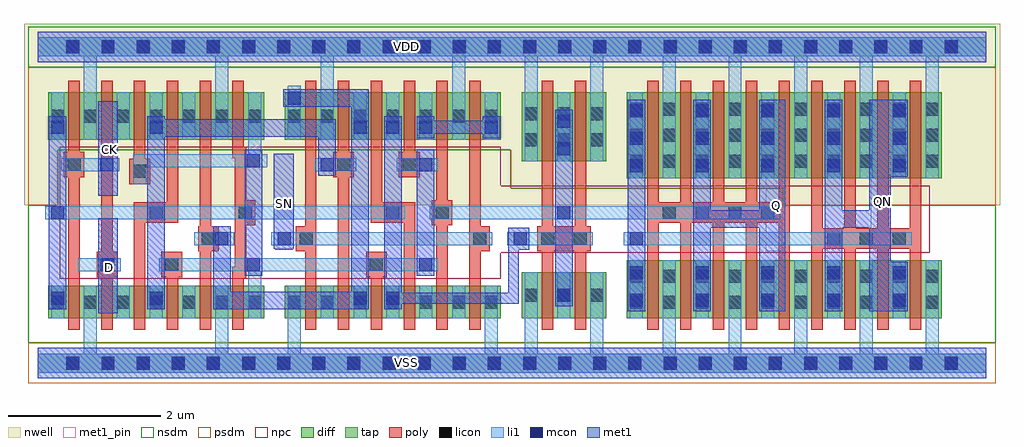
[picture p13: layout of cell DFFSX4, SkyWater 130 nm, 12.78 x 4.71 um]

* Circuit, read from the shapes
.subckt DFFSX4 CK D Q QN SN VDD VSS
XM1 VSS CK n1 VSS sky130_fd_pr__nfet_01v8 w=0.425 l=0.15
XM2 n2 D VSS VSS sky130_fd_pr__nfet_01v8 w=0.425 l=0.15
XM3 n3 n1 n2 VSS sky130_fd_pr__nfet_01v8 w=0.425 l=0.15
XM4 n4 n5 n3 VSS sky130_fd_pr__nfet_01v8 w=0.425 l=0.15
XM5 VSS n6 n4 VSS sky130_fd_pr__nfet_01v8 w=0.425 l=0.15
XM6 n5 n1 VSS VSS sky130_fd_pr__nfet_01v8 w=0.425 l=0.15
XM7 n7 SN VSS VSS sky130_fd_pr__nfet_01v8 w=0.425 l=0.15
XM8 n6 n3 n7 VSS sky130_fd_pr__nfet_01v8 w=0.425 l=0.15
XM9 n8 n5 n6 VSS sky130_fd_pr__nfet_01v8 w=0.425 l=0.15
XM10 n9 n1 n8 VSS sky130_fd_pr__nfet_01v8 w=0.425 l=0.15
XM11 n10 n11 n9 VSS sky130_fd_pr__nfet_01v8 w=0.425 l=0.15
XM12 VSS SN n10 VSS sky130_fd_pr__nfet_01v8 w=0.425 l=0.15
XM13 n11 n8 VSS VSS sky130_fd_pr__nfet_01v8 w=0.6 l=0.15 m=2
XM14 VSS n11 n12 VSS sky130_fd_pr__nfet_01v8 w=0.76 l=0.15
XM15 Q n11 VSS VSS sky130_fd_pr__nfet_01v8 w=0.76 l=0.15 m=4
XM16 QN n12 VSS VSS sky130_fd_pr__nfet_01v8 w=0.76 l=0.15 m=4
XM17 VDD CK n1 VDD sky130_fd_pr__pfet_01v8 w=0.625 l=0.15
XM18 n13 D VDD VDD sky130_fd_pr__pfet_01v8 w=0.625 l=0.15
XM19 n3 n5 n13 VDD sky130_fd_pr__pfet_01v8 w=0.625 l=0.15
XM20 n14 n1 n3 VDD sky130_fd_pr__pfet_01v8 w=0.625 l=0.15
XM21 VDD n6 n14 VDD sky130_fd_pr__pfet_01v8 w=0.625 l=0.15
XM22 n5 n1 VDD VDD sky130_fd_pr__pfet_01v8 w=0.625 l=0.15
XM23 VDD SN n6 VDD sky130_fd_pr__pfet_01v8 w=0.625 l=0.15
XM24 n6 n3 VDD VDD sky130_fd_pr__pfet_01v8 w=0.625 l=0.15
XM25 n8 n1 n6 VDD sky130_fd_pr__pfet_01v8 w=0.625 l=0.15
XM26 n15 n5 n8 VDD sky130_fd_pr__pfet_01v8 w=0.625 l=0.15
XM27 VDD n11 n15 VDD sky130_fd_pr__pfet_01v8 w=0.625 l=0.15
XM28 n15 SN VDD VDD sky130_fd_pr__pfet_01v8 w=0.625 l=0.15
XM29 n11 n8 VDD VDD sky130_fd_pr__pfet_01v8 w=0.905 l=0.15 m=2
XM30 VDD n11 n12 VDD sky130_fd_pr__pfet_01v8 w=1.13 l=0.15
XM31 Q n11 VDD VDD sky130_fd_pr__pfet_01v8 w=1.13 l=0.15 m=4
XM32 QN n12 VDD VDD sky130_fd_pr__pfet_01v8 w=1.13 l=0.15 m=4
.ends

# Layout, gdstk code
from math import pi, radians
import gdstk
lib = gdstk.Library(unit=1e-6, precision=1e-09)
def R(c, l, rs):  # rectangles x0, y0, x1, y1
    for r in rs: c.add(gdstk.rectangle(r[:2], r[2:], *l))
def A(c, l, x, y, w, h, nx, ny, dx, dy):  # array of equal rectangles
    R(c, l, [(x+i*dx, y+j*dy, x+i*dx+w, y+j*dy+h) for i in range(nx) for j in range(ny)])
def P(c, l, *ps):  # polygons
    for p in ps: c.add(gdstk.Polygon(p, *l))
nwell = (64, 20)
diff = (65, 20)
tap = (65, 44)
poly = (66, 20)
licon = (66, 44)
li1 = (67, 20)
mcon = (67, 44)
met1_pin = (68, 16)
met1 = (68, 20)
nsdm = (93, 44)
psdm = (94, 20)
npc = (95, 20)

pyl1con_c_cdns_751554744 = lib.new_cell('PYL1CON_C_CDNS_751554744754')
R(pyl1con_c_cdns_751554744, poly, [(-0.135,-0.29,0.135,0.29)])
R(pyl1con_c_cdns_751554744, licon, [(-0.085,-0.085,0.085,0.085)])
R(pyl1con_c_cdns_751554744, npc, [(-0.185,-0.185,0.185,0.185)])

c_pyl1con_c_cdns_751554744 = lib.new_cell('PYL1CON_C_CDNS_751554744751')
R(c_pyl1con_c_cdns_751554744, poly, [(-0.135,-0.165,0.135,0.165)])
R(c_pyl1con_c_cdns_751554744, licon, [(-0.085,-0.085,0.085,0.085)])
R(c_pyl1con_c_cdns_751554744, npc, [(-0.185,-0.185,0.185,0.185)])

licondiff_c_cdns_7515547 = lib.new_cell('LICONDIFF_C_CDNS_751554744755')
R(licondiff_c_cdns_7515547, diff, [(-0.125,-0.145,0.125,0.145)])
R(licondiff_c_cdns_7515547, licon, [(-0.085,-0.085,0.085,0.085), (-0.085,-0.085,0.085,0.085)])

dffsx4 = lib.new_cell('DFFSX4')
R(dffsx4, nwell, [(-0.18,2.07,12.6,4.445)])
R(dffsx4, diff, [(0.135,0.59,2.965,1.015), (3.235,0.59,6.065,1.015), (6.335,0.59,7.445,1.19), (7.715,0.59,11.835,1.35), (7.715,2.42,11.835,3.55), (6.335,2.645,7.445,3.55), (0.135,2.925,2.965,3.55), (3.235,2.925,6.065,3.55)])
A(dffsx4, poly, 7.98, 0.44, 0.15, 3.26, 9, 1, 0.43, 0)
R(dffsx4, poly, [(0.4,0.44,0.55,3.7), (0.83,0.44,0.98,3.7), (1.69,0.44,1.84,1.165), (2.12,0.44,2.27,3.7), (3.5,0.44,3.65,3.7), (3.93,0.44,4.08,3.7), (4.36,0.44,4.51,1.165), (5.22,0.44,5.37,3.7), (5.65,0.44,5.8,3.7), (1.26,2.51,1.41,3.7), (4.79,2.765,4.94,3.7)])
P(dffsx4, poly, [(6.6,0.44),(6.6,1.465),(6.54,1.465),(6.54,1.795),(6.6,1.795),(6.6,3.7),(6.75,3.7),(6.75,1.795),(7.03,1.795),(7.03,3.7),(7.18,3.7),(7.18,1.795),(7.24,1.795),(7.24,1.465),(7.18,1.465),(7.18,0.44),(7.03,0.44),(7.03,1.465),(6.75,1.465),(6.75,0.44)],
  [(4.79,0.44),(4.79,1.895),(4.36,1.895),(4.36,3.7),(4.51,3.7),(4.51,2.045),(4.94,2.045),(4.94,0.44)],
  [(2.55,0.44),(2.55,1.26),(2.58,1.26),(2.58,2.68),(2.55,2.68),(2.55,3.7),(2.7,3.7),(2.7,2.83),(2.73,2.83),(2.73,1.11),(2.7,1.11),(2.7,0.44)],
  [(1.26,0.44),(1.26,2.045),(1.69,2.045),(1.69,3.7),(1.84,3.7),(1.84,1.895),(1.41,1.895),(1.41,0.44)])
A(dffsx4, licon, 0.375, -0.085, 0.17, 0.17, 26, 2, 0.46, 4.14)
A(dffsx4, licon, 0.605, 0.715, 0.17, 0.17, 3, 2, 0.86, 2.435)
A(dffsx4, licon, 7.755, 0.715, 0.17, 0.17, 10, 2, 0.43, 0.34)
A(dffsx4, licon, 6.375, 0.805, 0.17, 0.17, 3, 2, 0.43, 2.035)
A(dffsx4, licon, 7.755, 2.56, 0.17, 0.17, 10, 3, 0.43, 0.34)
A(dffsx4, licon, 3.275, 3.15, 0.17, 0.17, 7, 1, 0.43, 0)
A(dffsx4, licon, 6.375, 3.18, 0.17, 0.17, 3, 1, 0.43, 0)
R(dffsx4, licon, [(0.175,0.715,0.345,0.885), (2.755,0.715,2.925,0.885), (3.275,0.715,3.445,0.885), (4.135,0.715,4.305,0.885), (4.565,0.715,4.735,0.885), (5.855,0.715,6.025,0.885), (0.175,3.15,0.345,3.32), (2.755,3.15,2.925,3.32)])
A(dffsx4, li1, 7.755, 0.59, 0.17, 0.76, 5, 1, 0.86, 0)
A(dffsx4, li1, 7.755, 0.66, 0.17, 0.69, 5, 1, 0.86, 0)
A(dffsx4, li1, 7.755, 2.42, 0.17, 1.13, 5, 1, 0.86, 0)
A(dffsx4, li1, 7.755, 2.42, 0.17, 1.05, 5, 1, 0.86, 0)
A(dffsx4, li1, 4.135, 2.925, 0.17, 0.625, 3, 1, 0.43, 0)
A(dffsx4, li1, 4.135, 2.925, 0.17, 0.33, 3, 1, 0.43, 0)
R(dffsx4, li1, [(0.175,0.59,0.345,1.015), (1.465,0.59,1.635,1.015), (4.135,0.59,4.305,1.015), (4.565,0.59,4.735,1.015), (6.805,0.59,6.975,1.19), (0.175,0.685,0.345,1.015), (1.465,0.685,1.635,1.015), (4.135,0.685,4.305,1.015), (4.565,0.685,4.735,1.015), (6.805,0.725,6.975,1.055), (0.755,1.205,1.085,1.375), (2.66,1.205,2.99,1.375), (4.915,1.205,5.245,1.375), (2.245,1.545,2.575,1.715), (3.06,1.545,3.39,1.715), (6.235,1.545,6.405,1.715), (7.675,1.545,8.005,1.715), (0.095,1.885,0.425,2.055), (6.725,1.885,7.055,2.055), (0.31,2.515,0.855,2.685), (0.74,2.515,1.07,2.685), (3.665,2.515,3.915,2.685), (4.915,2.515,5.245,2.685), (2.66,2.565,2.99,2.735), (6.805,2.645,6.975,3.55), (6.805,2.645,6.975,3.335), (0.175,2.925,0.345,3.55), (0.175,2.925,0.345,3.255), (1.465,2.925,1.635,3.55), (1.465,2.925,1.635,3.255), (3.275,2.925,3.445,3.55), (5.855,2.925,6.025,3.55), (5.855,2.925,6.025,3.255), (3.275,3.305,3.445,3.635)])
P(dffsx4, li1, [(0,-0.125),(0,0.125),(0.605,0.125),(0.605,1.015),(0.775,1.015),(0.775,0.125),(2.325,0.125),(2.325,1.015),(2.495,1.015),(2.495,0.125),(3.275,0.125),(3.275,1.015),(3.445,1.015),(3.445,0.125),(5.855,0.125),(5.855,1.015),(6.025,1.015),(6.025,0.125),(6.375,0.125),(6.375,1.19),(6.545,1.19),(6.545,0.125),(7.235,0.125),(7.235,1.19),(7.405,1.19),(7.405,0.125),(8.185,0.125),(8.185,1.35),(8.355,1.35),(8.355,0.125),(9.045,0.125),(9.045,1.35),(9.215,1.35),(9.215,0.125),(9.905,0.125),(9.905,1.35),(10.075,1.35),(10.075,0.125),(10.765,0.125),(10.765,1.35),(10.935,1.35),(10.935,0.125),(11.625,0.125),(11.625,1.35),(11.795,1.35),(11.795,0.125),(12.42,0.125),(12.42,-0.125)],
  [(8.185,2.42),(8.185,4.015),(7.405,4.015),(7.405,2.645),(7.235,2.645),(7.235,4.015),(6.545,4.015),(6.545,2.645),(6.375,2.645),(6.375,4.015),(5.595,4.015),(5.595,2.925),(5.425,2.925),(5.425,4.015),(3.875,4.015),(3.875,2.925),(3.705,2.925),(3.705,4.015),(2.495,4.015),(2.495,2.925),(2.325,2.925),(2.325,4.015),(0.775,4.015),(0.775,2.925),(0.605,2.925),(0.605,4.015),(0,4.015),(0,4.265),(12.42,4.265),(12.42,4.015),(11.795,4.015),(11.795,2.42),(11.625,2.42),(11.625,4.015),(10.935,4.015),(10.935,2.42),(10.765,2.42),(10.765,4.015),(10.075,4.015),(10.075,2.42),(9.905,2.42),(9.905,4.015),(9.215,4.015),(9.215,2.42),(9.045,2.42),(9.045,4.015),(8.355,4.015),(8.355,2.42)],
  [(2.755,0.59),(2.755,1.205),(1.59,1.205),(1.59,1.375),(5.245,1.375),(5.245,1.205),(2.925,1.205),(2.925,0.59)],
  [(1.25,2.345),(1.25,2.735),(2.755,2.735),(2.755,3.55),(2.925,3.55),(2.925,2.735),(3.005,2.735),(3.005,2.565),(1.42,2.565),(1.42,2.345)])
A(dffsx4, mcon, 0.375, -0.085, 0.17, 0.17, 26, 2, 0.46, 4.14)
A(dffsx4, mcon, 7.755, 0.74, 0.17, 0.17, 5, 2, 0.86, 0.36)
A(dffsx4, mcon, 0.175, 0.765, 0.17, 0.17, 1, 3, 0, 1.12)
A(dffsx4, mcon, 7.755, 2.5, 0.17, 0.17, 5, 3, 0.86, 0.36)
A(dffsx4, mcon, 4.135, 3.005, 0.17, 0.17, 3, 1, 0.43, 0)
R(dffsx4, mcon, [(1.465,0.765,1.635,0.935), (4.135,0.765,4.305,0.935), (4.565,0.765,4.735,0.935), (6.805,0.805,6.975,0.975), (0.835,1.205,1.005,1.375), (2.74,1.205,2.91,1.375), (4.995,1.205,5.165,1.375), (2.325,1.545,2.495,1.715), (3.14,1.545,3.31,1.715), (6.235,1.545,6.405,1.715), (7.755,1.545,7.925,1.715), (6.805,1.885,6.975,2.055), (0.82,2.515,0.99,2.685), (3.705,2.515,3.875,2.685), (4.995,2.515,5.165,2.685), (2.74,2.565,2.91,2.735), (6.805,2.725,6.975,2.895), (1.465,3.005,1.635,3.175), (5.855,3.005,6.025,3.175), (6.805,3.085,6.975,3.255), (3.275,3.385,3.445,3.555)])
R(dffsx4, met1_pin, [(0.79,0.655,1.05,1.895), (9.53,1.465,9.79,2.705), (3.09,1.5,3.35,2.74), (10.91,1.52,11.17,2.76), (0.79,2.19,1.05,3.43)])
A(dffsx4, met1, 7.725, 0.68, 0.23, 0.65, 5, 1, 0.86, 0)
A(dffsx4, met1, 0.145, 0.705, 0.23, 0.29, 1, 3, 0, 1.12)
A(dffsx4, met1, 7.725, 2.44, 0.23, 1.01, 5, 1, 0.86, 0)
A(dffsx4, met1, 4.105, 2.945, 0.23, 0.29, 3, 1, 0.43, 0)
R(dffsx4, met1, [(1.435,0.705,1.665,0.995), (4.105,0.705,4.335,0.995), (4.535,0.705,4.765,0.995), (6.775,0.745,7.005,1.035), (0.805,1.145,1.035,1.435), (2.71,1.145,2.94,1.435), (4.965,1.145,5.195,1.435), (2.295,1.485,2.525,1.775), (3.11,1.485,3.34,1.775), (6.205,1.485,6.435,1.775), (7.725,1.485,7.955,1.775), (6.775,1.825,7.005,2.115), (0.79,2.455,1.02,2.745), (3.675,2.455,3.905,2.745), (4.965,2.455,5.195,2.745), (2.71,2.505,2.94,2.795), (6.775,2.665,7.005,3.315), (1.435,2.945,1.665,3.235), (5.825,2.945,6.055,3.235), (3.215,3.355,3.505,3.585)])
P(dffsx4, met1, [(4.535,0.705),(4.535,3.235),(4.765,3.235),(4.765,0.92),(6.16,0.92),(6.16,1.775),(6.3,1.775),(6.3,0.78),(4.765,0.78),(4.765,0.705)],
  [(8.585,0.68),(8.585,3.45),(8.815,3.45),(8.815,2),(9.445,2),(9.445,3.45),(9.79,3.45),(9.79,0.68),(9.445,0.68),(9.445,1.77),(8.815,1.77),(8.815,0.68)],
  [(10.305,0.68),(10.305,3.45),(10.535,3.45),(10.535,2),(10.885,2),(10.885,3.45),(11.17,3.45),(11.17,0.68),(10.885,0.68),(10.885,1.77),(10.535,1.77),(10.535,0.68)])
R(dffsx4, nsdm, [(-0.125,3.875,12.545,4.405)])
P(dffsx4, nsdm, [(-0.125,0.265),(-0.125,2.07),(0.265,2.07),(0.265,2.795),(6.195,2.795),(6.195,2.29),(9.765,2.29),(9.765,2.07),(12.545,2.07),(12.545,0.265)])
R(dffsx4, psdm, [(-0.125,-0.265,12.545,0.265)])
P(dffsx4, psdm, [(-0.125,2.07),(-0.125,3.875),(12.545,3.875),(12.545,2.07),(9.765,2.07),(9.765,2.29),(6.195,2.29),(6.195,2.795),(0.265,2.795),(0.265,2.07)])
P(dffsx4, npc, [(0.29,1.105),(0.29,2.835),(6.065,2.835),(6.065,2.325),(11.68,2.325),(11.68,1.445),(6.065,1.445),(6.065,1.105)])
dffsx4.add(gdstk.FlexPath([(0.095,1.97),(4.815,1.97)], 0.17, ends="flush", simple_path=True, layer=67, datatype=20))  # li1
dffsx4.add(gdstk.FlexPath([(2.575,1.63),(2.05,1.63)], 0.17, ends="flush", simple_path=True, layer=67, datatype=20))  # li1
dffsx4.add(gdstk.FlexPath([(6.145,1.63),(7.27,1.63)], 0.17, ends="flush", simple_path=True, layer=67, datatype=20))  # li1
dffsx4.add(gdstk.FlexPath([(5.95,1.63),(3.105,1.63)], 0.17, ends="flush", simple_path=True, layer=67, datatype=20))  # li1
dffsx4.add(gdstk.FlexPath([(0.525,1.29),(1.07,1.29)], 0.17, ends="flush", simple_path=True, layer=67, datatype=20))  # li1
dffsx4.add(gdstk.FlexPath([(3.625,2.6),(4.17,2.6)], 0.17, ends="flush", simple_path=True, layer=67, datatype=20))  # li1
dffsx4.add(gdstk.FlexPath([(4.7,2.6),(5.245,2.6)], 0.17, ends="flush", simple_path=True, layer=67, datatype=20))  # li1
dffsx4.add(gdstk.FlexPath([(5.13,1.97),(9.725,1.97)], 0.17, ends="flush", simple_path=True, layer=67, datatype=20))  # li1
dffsx4.add(gdstk.FlexPath([(1.12,2.925),(1.12,3.55)], 0.17, ends="flush", simple_path=True, layer=67, datatype=20))  # li1
dffsx4.add(gdstk.FlexPath([(1.98,2.925),(1.98,3.55)], 0.17, ends="flush", simple_path=True, layer=67, datatype=20))  # li1
dffsx4.add(gdstk.FlexPath([(7.675,1.63),(11.445,1.63)], 0.17, ends="flush", simple_path=True, layer=67, datatype=20))  # li1
dffsx4.add(gdstk.FlexPath([(1.12,0.59),(1.12,1.015)], 0.17, ends="flush", simple_path=True, layer=67, datatype=20))  # li1
dffsx4.add(gdstk.FlexPath([(1.98,0.59),(1.98,1.015)], 0.17, ends="flush", simple_path=True, layer=67, datatype=20))  # li1
dffsx4.add(gdstk.FlexPath([(3.79,0.59),(3.79,1.015)], 0.17, ends="flush", simple_path=True, layer=67, datatype=20))  # li1
dffsx4.add(gdstk.FlexPath([(5.08,0.59),(5.08,1.015)], 0.17, ends="flush", simple_path=True, layer=67, datatype=20))  # li1
dffsx4.add(gdstk.FlexPath([(5.51,0.59),(5.51,1.015)], 0.17, ends="flush", simple_path=True, layer=67, datatype=20))  # li1
dffsx4.add(gdstk.FlexPath([(2.41,1.795),(2.41,0.82),(4.22,0.82),(4.22,3.47),(3.215,3.47)], 0.23, ends="flush", simple_path=True, layer=68, datatype=20))  # met1
dffsx4.add(gdstk.FlexPath([(7.84,0.68),(7.84,3.45)], 0.23, ends="flush", simple_path=True, layer=68, datatype=20))  # met1
dffsx4.add(gdstk.FlexPath([(1.55,0.705),(1.55,3.08),(3.79,3.08),(3.79,2.505)], 0.23, ends="flush", simple_path=True, layer=68, datatype=20))  # met1
dffsx4.add(gdstk.FlexPath([(4.965,3.09),(6.055,3.09)], 0.17, ends="flush", simple_path=True, layer=68, datatype=20))  # met1
dffsx4.add(gdstk.FlexPath([(6.89,0.745),(6.89,3.315)], 0.23, ends="flush", simple_path=True, layer=68, datatype=20))  # met1
dffsx4.add(gdstk.FlexPath([(0.92,0.655),(0.92,1.895)], 0.26, ends="flush", simple_path=True, layer=68, datatype=20))  # met1
dffsx4.add(gdstk.FlexPath([(3.22,1.5),(3.22,2.74)], 0.26, ends="flush", simple_path=True, layer=68, datatype=20))  # met1
dffsx4.add(gdstk.FlexPath([(0.92,2.19),(0.92,3.43)], 0.26, ends="flush", simple_path=True, layer=68, datatype=20))  # met1
dffsx4.add(gdstk.FlexPath([(0.26,0.705),(0.26,3.235)], 0.23, ends="flush", simple_path=True, layer=68, datatype=20))  # met1
dffsx4.add(gdstk.FlexPath([(0,0),(12.42,0)], 0.4, ends="flush", simple_path=True, layer=68, datatype=20))  # met1
dffsx4.add(gdstk.FlexPath([(0,4.14),(12.42,4.14)], 0.4, ends="flush", simple_path=True, layer=68, datatype=20))  # met1
dffsx4.add(gdstk.FlexPath([(2.825,1.145),(2.825,2.795)], 0.23, ends="flush", simple_path=True, layer=68, datatype=20))  # met1
dffsx4.add(gdstk.FlexPath([(5.08,1.145),(5.08,2.795)], 0.23, ends="flush", simple_path=True, layer=68, datatype=20))  # met1
dffsx4.add(gdstk.FlexPath([(0,0),(12.42,0)], 0.25, ends="flush", simple_path=True, layer=65, datatype=44))  # tap
dffsx4.add(gdstk.FlexPath([(0,4.14),(12.42,4.14)], 0.25, ends="flush", simple_path=True, layer=65, datatype=44))  # tap
dffsx4.add(gdstk.FlexPath([(0,0),(12.42,0)], 0.4, ends="flush", simple_path=True, layer=68, datatype=16))  # met1_pin
dffsx4.add(gdstk.FlexPath([(0,4.14),(12.42,4.14)], 0.4, ends="flush", simple_path=True, layer=68, datatype=16))  # met1_pin
dffsx4.add(gdstk.Reference(pyl1con_c_cdns_751554744, (4.65,1.97), rotation=pi/2))
dffsx4.add(gdstk.Reference(c_pyl1con_c_cdns_751554744, (6.675,1.63), rotation=pi, x_reflection=True))
dffsx4.add(gdstk.Reference(c_pyl1con_c_cdns_751554744, (7.105,1.63), rotation=pi, x_reflection=True))
dffsx4.add(gdstk.Reference(c_pyl1con_c_cdns_751554744, (5.295,1.97), rotation=pi, x_reflection=True))
dffsx4.add(gdstk.Reference(c_pyl1con_c_cdns_751554744, (2.715,1.97)))
dffsx4.add(gdstk.Reference(c_pyl1con_c_cdns_751554744, (0.905,1.29), x_reflection=True))
dffsx4.add(gdstk.Reference(c_pyl1con_c_cdns_751554744, (1.755,1.29), x_reflection=True))
dffsx4.add(gdstk.Reference(c_pyl1con_c_cdns_751554744, (4.435,1.29), x_reflection=True))
dffsx4.add(gdstk.Reference(c_pyl1con_c_cdns_751554744, (3.515,1.63), x_reflection=True))
dffsx4.add(gdstk.Reference(c_pyl1con_c_cdns_751554744, (5.785,1.63), x_reflection=True))
dffsx4.add(gdstk.Reference(c_pyl1con_c_cdns_751554744, (2.235,1.63), rotation=pi))
dffsx4.add(gdstk.Reference(c_pyl1con_c_cdns_751554744, (1.335,2.51), rotation=pi))
dffsx4.add(gdstk.Reference(c_pyl1con_c_cdns_751554744, (0.475,2.6), rotation=pi))
dffsx4.add(gdstk.Reference(c_pyl1con_c_cdns_751554744, (4.005,2.6), rotation=pi))
dffsx4.add(gdstk.Reference(c_pyl1con_c_cdns_751554744, (4.865,2.6), rotation=pi))
dffsx4.add(gdstk.Reference(c_pyl1con_c_cdns_751554744, (10.42,1.63), rotation=pi/2, x_reflection=True))
dffsx4.add(gdstk.Reference(c_pyl1con_c_cdns_751554744, (10.85,1.63), rotation=pi/2, x_reflection=True))
dffsx4.add(gdstk.Reference(c_pyl1con_c_cdns_751554744, (11.28,1.63), rotation=pi/2, x_reflection=True))
dffsx4.add(gdstk.Reference(c_pyl1con_c_cdns_751554744, (8.27,1.97), rotation=pi/2, x_reflection=True))
dffsx4.add(gdstk.Reference(c_pyl1con_c_cdns_751554744, (8.7,1.97), rotation=pi/2, x_reflection=True))
dffsx4.add(gdstk.Reference(c_pyl1con_c_cdns_751554744, (9.13,1.97), rotation=pi/2, x_reflection=True))
dffsx4.add(gdstk.Reference(c_pyl1con_c_cdns_751554744, (9.56,1.97), rotation=pi/2, x_reflection=True))
dffsx4.add(gdstk.Reference(pyl1con_c_cdns_751554744, (1.55,1.97), rotation=pi/2, x_reflection=True))
dffsx4.add(gdstk.Reference(licondiff_c_cdns_7515547, (1.12,0.8)))
dffsx4.add(gdstk.Reference(licondiff_c_cdns_7515547, (1.98,0.8)))
dffsx4.add(gdstk.Reference(licondiff_c_cdns_7515547, (3.79,0.8)))
dffsx4.add(gdstk.Reference(licondiff_c_cdns_7515547, (5.08,0.8)))
dffsx4.add(gdstk.Reference(licondiff_c_cdns_7515547, (5.51,0.8)))
dffsx4.add(gdstk.Reference(licondiff_c_cdns_7515547, (1.12,3.235)))
dffsx4.add(gdstk.Reference(licondiff_c_cdns_7515547, (1.98,3.235)))
dffsx4.add(gdstk.Label('SN', (3.235,2.095), layer=68, texttype=5))
dffsx4.add(gdstk.Label('Q', (9.675,2.06), layer=68, texttype=5))
dffsx4.add(gdstk.Label('QN', (11.055,2.115), layer=68, texttype=5))
dffsx4.add(gdstk.Label('CK', (0.945,2.795), layer=68, texttype=5))
dffsx4.add(gdstk.Label('D', (0.935,1.25), layer=68, texttype=5))
dffsx4.add(gdstk.Label('VDD', (4.825,4.145), layer=68, texttype=5))
dffsx4.add(gdstk.Label('VSS', (4.825,0.005), layer=68, texttype=5))

lib.write_gds('DFFSX4.gds')
